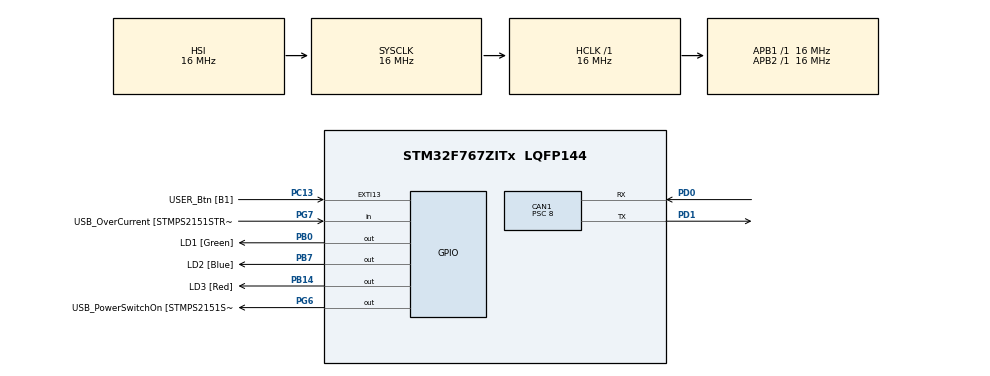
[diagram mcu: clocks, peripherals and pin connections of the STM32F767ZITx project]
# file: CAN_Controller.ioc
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CAN1.BS1=CAN_BS1_2TQ
CAN1.CalculateBaudRate=500000
CAN1.CalculateTimeBit=2000
CAN1.CalculateTimeQuantum=500.0
CAN1.Mode=CAN_MODE_NORMAL
CAN1.Prescaler=8
Mcu.Family=STM32F7
Mcu.Name=STM32F767ZITx
Mcu.Package=LQFP144
NVIC.CAN1_RX0_IRQn=true\:0\:0\:false\:false\:true\:true\:true
NVIC.CAN1_RX1_IRQn=true\:0\:0\:false\:false\:true\:true\:true
NVIC.PriorityGroup=NVIC_PRIORITYGROUP_4
PA1.GPIO_Label=RMII_REF_CLK [LAN8742A-CZ-TR_REFCLK0]
PA1.Signal=ETH_REF_CLK
PA10.GPIO_Label=USB_ID
PA10.Signal=USB_OTG_FS_ID
PA11.GPIO_Label=USB_DM
PA11.Signal=USB_OTG_FS_DM
PA12.GPIO_Label=USB_DP
PA12.Signal=USB_OTG_FS_DP
PA13.GPIO_Label=TMS
PA13.Mode=Serial_Wire
PA13.Signal=SYS_JTMS-SWDIO
PA14.GPIO_Label=TCK
PA14.Mode=Serial_Wire
PA14.Signal=SYS_JTCK-SWCLK
PA2.GPIO_Label=RMII_MDIO [LAN8742A-CZ-TR_MDIO]
PA2.Signal=ETH_MDIO
PA7.GPIO_Label=RMII_CRS_DV [LAN8742A-CZ-TR_CRS_DV]
PA7.Signal=ETH_CRS_DV
PA8.GPIO_Label=USB_SOF [TP1]
PA8.Signal=USB_OTG_FS_SOF
PA9.GPIO_Label=USB_VBUS
PA9.Signal=USB_OTG_FS_VBUS
PB0.GPIO_Label=LD1 [Green]
PB0.Signal=GPIO_Output
PB13.GPIO_Label=RMII_TXD1 [LAN8742A-CZ-TR_TXD1]
PB13.Signal=ETH_TXD1
PB14.GPIO_Label=LD3 [Red]
PB14.Signal=GPIO_Output
PB3.GPIO_Label=SW0
PB3.Signal=SYS_JTDO-SWO
PB7.GPIO_Label=LD2 [Blue]
PB7.Signal=GPIO_Output
PC1.GPIO_Label=RMII_MDC [LAN8742A-CZ-TR_MDC]
PC1.Signal=ETH_MDC
PC13.GPIO_Label=USER_Btn [B1]
PC13.Signal=GPXTI13
PC14/OSC32_IN.Mode=LSE-External-Clock-Source
PC14/OSC32_IN.Signal=RCC_OSC32_IN
PC15/OSC32_OUT.Mode=LSE-External-Clock-Source
PC15/OSC32_OUT.Signal=RCC_OSC32_OUT
PC4.GPIO_Label=RMII_RXD0 [LAN8742A-CZ-TR_RXD0]
PC4.Signal=ETH_RXD0
PC5.GPIO_Label=RMII_RXD1 [LAN8742A-CZ-TR_RXD1]
PC5.Signal=ETH_RXD1
PD0.Mode=CAN_Activate
PD0.Signal=CAN1_RX
PD1.Mode=CAN_Activate
PD1.Signal=CAN1_TX
PD8.GPIO_Label=STLK_RX [STM32F103CBT6_PA3]
PD8.Signal=USART3_TX
PD9.GPIO_Label=STLK_TX [STM32F103CBT6_PA2]
PD9.Signal=USART3_RX
PG11.GPIO_Label=RMII_TX_EN [LAN8742A-CZ-TR_TXEN]
PG11.Signal=ETH_TX_EN
PG13.GPIO_Label=RMII_TXD0 [LAN8742A-CZ-TR_TXD0]
PG13.Signal=ETH_TXD0
PG6.GPIO_Label=USB_PowerSwitchOn [STMPS2151STR_EN]
PG6.Signal=GPIO_Output
PG7.GPIO_Label=USB_OverCurrent [STMPS2151STR_FAULT]
PG7.Signal=GPIO_Input
PH0/OSC_IN.GPIO_Label=MCO [STM32F103CBT6_PA8]
PH0/OSC_IN.Mode=HSE-External-Clock-Source
PH0/OSC_IN.Signal=RCC_OSC_IN
PH1/OSC_OUT.Mode=HSE-External-Clock-Source
PH1/OSC_OUT.Signal=RCC_OSC_OUT
ProjectManager.HeapSize=0x200
ProjectManager.StackSize=0x400
ProjectManager.TargetToolchain=STM32CubeIDE
RCC.48MHZClocksFreq_Value=24000000
RCC.AHBFreq_Value=16000000
RCC.APB1Freq_Value=16000000
RCC.APB1TimFreq_Value=16000000
RCC.APB2Freq_Value=16000000
RCC.APB2TimFreq_Value=16000000
RCC.CortexFreq_Value=16000000
RCC.HCLKFreq_Value=16000000
RCC.HSE_VALUE=8000000
RCC.HSI_VALUE=16000000
RCC.PLLM=4
RCC.PLLMUL=RCC_PLL_MUL9
RCC.PLLP=RCC_PLLP_DIV4
RCC.PRESCALERUSB=RCC_USBCLKSOURCE_PLL_DIV1_5
RCC.SYSCLKFreq_VALUE=16000000
RCC.SYSCLKSourceVirtual=RCC_SYSCLKSOURCE_PLLCLK
RCC.USBFreq_Value=384000000
RCC.VCOOutputFreq_Value=768000000
board=NUCLEO-F767ZI

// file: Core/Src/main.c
/* USER CODE BEGIN Header */
/**
  ******************************************************************************
  * @file           : main.c
  * @brief          : Main program body
  ******************************************************************************
  * @attention
  *
  * Copyright (c) 2022 STMicroelectronics.
  * All rights reserved.
  *
  * This software is licensed under terms that can be found in the LICENSE file
  * in the root directory of this software component.
  * If no LICENSE file comes with this software, it is provided AS-IS.
  *
  ******************************************************************************
  */
/* USER CODE END Header */
#include "main.h"
#include "can_msg.h"

CAN_HandleTypeDef hcan1;

/* USER CODE BEGIN PV */
#define CAN_QUEUE_SIZE 50

//ms_timer_t timer_CAN_queue;
//message_queue_t queue_CAN1;

uint32_t txMailbox_CAN1;

/* USER CODE END PV */

void SystemClock_Config(void);
static void MX_GPIO_Init(void);
static void MX_CAN1_Init(void);
/* USER CODE BEGIN PFP */
void setup_CAN();
static void CAN_Config(void);
/* USER CODE END PFP */

/* USER CODE BEGIN 0 */
CAN_TxHeaderTypeDef   TxHeader;
CAN_RxHeaderTypeDef   RxHeader;
uint8_t               TxData[8];
uint8_t               RxData[8];
uint32_t              TxMailbox;
/* USER CODE END 0 */

int main(void)
{

  /* MCU Configuration--------------------------------------------------------*/

  /* Reset of all peripherals, Initializes the Flash interface and the Systick. */
  HAL_Init();

  /* Configure the system clock */
  SystemClock_Config();

  /* Initialize all configured peripherals */
  MX_GPIO_Init();
  MX_CAN1_Init();
  /* USER CODE BEGIN 2 */
  CAN_Config();
  if (HAL_CAN_ActivateNotification(&hcan1, CAN_IT_RX_FIFO0_MSG_PENDING) != HAL_OK)
      {
        /* Notification Error */
        Error_Handler();
      }

  	  TxHeader.StdId = 0x321;
      TxHeader.ExtId = 0x01;
      TxHeader.RTR = CAN_RTR_DATA;
      TxHeader.IDE = CAN_ID_STD;
      TxHeader.DLC = 8;
      TxHeader.TransmitGlobalTime = DISABLE;

      TxData[0] = 0x01;
      TxData[1] = 0xA1;
      TxData[2] = 0xB1;
      TxData[3] = 0xC1;
      TxData[4] = 0x00;
      TxData[5] = 0x00;
      TxData[6] = 0x00;
      TxData[7] = 0x00;
      TxData[8] = 0x00;
  /* USER CODE END 2 */

  /* Infinite loop */
  /* USER CODE BEGIN WHILE */
  while (1)
  {
	  HAL_CAN_AddTxMessage(&hcan1, &TxHeader, TxData, &TxMailbox);
	  HAL_Delay(500);
	  HAL_GPIO_TogglePin(LD2_GPIO_Port, LD2_Pin);
    /* USER CODE END WHILE */

  }
}

void SystemClock_Config(void)
{
  RCC_OscInitTypeDef RCC_OscInitStruct = {0};
  RCC_ClkInitTypeDef RCC_ClkInitStruct = {0};

  /** Configure the main internal regulator output voltage
  */
  __HAL_RCC_PWR_CLK_ENABLE();
  __HAL_PWR_VOLTAGESCALING_CONFIG(PWR_REGULATOR_VOLTAGE_SCALE3);
  /** Initializes the RCC Oscillators according to the specified parameters
  * in the RCC_OscInitTypeDef structure.
  */
  RCC_OscInitStruct.OscillatorType = RCC_OSCILLATORTYPE_HSI;
  RCC_OscInitStruct.HSIState = RCC_HSI_ON;
  RCC_OscInitStruct.HSICalibrationValue = RCC_HSICALIBRATION_DEFAULT;
  RCC_OscInitStruct.PLL.PLLState = RCC_PLL_NONE;
  if (HAL_RCC_OscConfig(&RCC_OscInitStruct) != HAL_OK)
  {
    Error_Handler();
  }
  /** Initializes the CPU, AHB and APB buses clocks
  */
  RCC_ClkInitStruct.ClockType = RCC_CLOCKTYPE_HCLK|RCC_CLOCKTYPE_SYSCLK
                              |RCC_CLOCKTYPE_PCLK1|RCC_CLOCKTYPE_PCLK2;
  RCC_ClkInitStruct.SYSCLKSource = RCC_SYSCLKSOURCE_HSI;
  RCC_ClkInitStruct.AHBCLKDivider = RCC_SYSCLK_DIV1;
  RCC_ClkInitStruct.APB1CLKDivider = RCC_HCLK_DIV1;
  RCC_ClkInitStruct.APB2CLKDivider = RCC_HCLK_DIV1;

  if (HAL_RCC_ClockConfig(&RCC_ClkInitStruct, FLASH_LATENCY_0) != HAL_OK)
  {
    Error_Handler();
  }
}

static void MX_CAN1_Init(void)
{

  hcan1.Instance = CAN1;
  hcan1.Init.Prescaler = 8;
  hcan1.Init.Mode = CAN_MODE_NORMAL;
  hcan1.Init.SyncJumpWidth = CAN_SJW_1TQ;
  hcan1.Init.TimeSeg1 = CAN_BS1_2TQ;
  hcan1.Init.TimeSeg2 = CAN_BS2_1TQ;
  hcan1.Init.TimeTriggeredMode = DISABLE;
  hcan1.Init.AutoBusOff = DISABLE;
  hcan1.Init.AutoWakeUp = DISABLE;
  hcan1.Init.AutoRetransmission = DISABLE;
  hcan1.Init.ReceiveFifoLocked = DISABLE;
  hcan1.Init.TransmitFifoPriority = DISABLE;
  if (HAL_CAN_Init(&hcan1) != HAL_OK)
  {
    Error_Handler();
  }

}

static void MX_GPIO_Init(void)
{
  GPIO_InitTypeDef GPIO_InitStruct = {0};

  /* GPIO Ports Clock Enable */
  __HAL_RCC_GPIOC_CLK_ENABLE();
  __HAL_RCC_GPIOH_CLK_ENABLE();
  __HAL_RCC_GPIOA_CLK_ENABLE();
  __HAL_RCC_GPIOB_CLK_ENABLE();
  __HAL_RCC_GPIOD_CLK_ENABLE();
  __HAL_RCC_GPIOG_CLK_ENABLE();

  /*Configure GPIO pin Output Level */
  HAL_GPIO_WritePin(GPIOB, LD1_Pin|LD3_Pin|LD2_Pin, GPIO_PIN_RESET);

  /*Configure GPIO pin Output Level */
  HAL_GPIO_WritePin(USB_PowerSwitchOn_GPIO_Port, USB_PowerSwitchOn_Pin, GPIO_PIN_RESET);

  /*Configure GPIO pin : USER_Btn_Pin */
  GPIO_InitStruct.Pin = USER_Btn_Pin;
  GPIO_InitStruct.Mode = GPIO_MODE_IT_RISING;
  GPIO_InitStruct.Pull = GPIO_NOPULL;
  HAL_GPIO_Init(USER_Btn_GPIO_Port, &GPIO_InitStruct);

  /*Configure GPIO pins : RMII_MDC_Pin RMII_RXD0_Pin RMII_RXD1_Pin */
  GPIO_InitStruct.Pin = RMII_MDC_Pin|RMII_RXD0_Pin|RMII_RXD1_Pin;
  GPIO_InitStruct.Mode = GPIO_MODE_AF_PP;
  GPIO_InitStruct.Pull = GPIO_NOPULL;
  GPIO_InitStruct.Speed = GPIO_SPEED_FREQ_VERY_HIGH;
  GPIO_InitStruct.Alternate = GPIO_AF11_ETH;
  HAL_GPIO_Init(GPIOC, &GPIO_InitStruct);

  /*Configure GPIO pins : RMII_REF_CLK_Pin RMII_MDIO_Pin RMII_CRS_DV_Pin */
  GPIO_InitStruct.Pin = RMII_REF_CLK_Pin|RMII_MDIO_Pin|RMII_CRS_DV_Pin;
  GPIO_InitStruct.Mode = GPIO_MODE_AF_PP;
  GPIO_InitStruct.Pull = GPIO_NOPULL;
  GPIO_InitStruct.Speed = GPIO_SPEED_FREQ_VERY_HIGH;
  GPIO_InitStruct.Alternate = GPIO_AF11_ETH;
  HAL_GPIO_Init(GPIOA, &GPIO_InitStruct);

  /*Configure GPIO pins : LD1_Pin LD3_Pin LD2_Pin */
  GPIO_InitStruct.Pin = LD1_Pin|LD3_Pin|LD2_Pin;
  GPIO_InitStruct.Mode = GPIO_MODE_OUTPUT_PP;
  GPIO_InitStruct.Pull = GPIO_NOPULL;
  GPIO_InitStruct.Speed = GPIO_SPEED_FREQ_LOW;
  HAL_GPIO_Init(GPIOB, &GPIO_InitStruct);

  /*Configure GPIO pin : RMII_TXD1_Pin */
  GPIO_InitStruct.Pin = RMII_TXD1_Pin;
  GPIO_InitStruct.Mode = GPIO_MODE_AF_PP;
  GPIO_InitStruct.Pull = GPIO_NOPULL;
  GPIO_InitStruct.Speed = GPIO_SPEED_FREQ_VERY_HIGH;
  GPIO_InitStruct.Alternate = GPIO_AF11_ETH;
  HAL_GPIO_Init(RMII_TXD1_GPIO_Port, &GPIO_InitStruct);

  /*Configure GPIO pins : STLK_RX_Pin STLK_TX_Pin */
  GPIO_InitStruct.Pin = STLK_RX_Pin|STLK_TX_Pin;
  GPIO_InitStruct.Mode = GPIO_MODE_AF_PP;
  GPIO_InitStruct.Pull = GPIO_NOPULL;
  GPIO_InitStruct.Speed = GPIO_SPEED_FREQ_VERY_HIGH;
  GPIO_InitStruct.Alternate = GPIO_AF7_USART3;
  HAL_GPIO_Init(GPIOD, &GPIO_InitStruct);

  /*Configure GPIO pin : USB_PowerSwitchOn_Pin */
  GPIO_InitStruct.Pin = USB_PowerSwitchOn_Pin;
  GPIO_InitStruct.Mode = GPIO_MODE_OUTPUT_PP;
  GPIO_InitStruct.Pull = GPIO_NOPULL;
  GPIO_InitStruct.Speed = GPIO_SPEED_FREQ_LOW;
  HAL_GPIO_Init(USB_PowerSwitchOn_GPIO_Port, &GPIO_InitStruct);

  /*Configure GPIO pin : USB_OverCurrent_Pin */
  GPIO_InitStruct.Pin = USB_OverCurrent_Pin;
  GPIO_InitStruct.Mode = GPIO_MODE_INPUT;
  GPIO_InitStruct.Pull = GPIO_NOPULL;
  HAL_GPIO_Init(USB_OverCurrent_GPIO_Port, &GPIO_InitStruct);

  /*Configure GPIO pins : USB_SOF_Pin USB_ID_Pin USB_DM_Pin USB_DP_Pin */
  GPIO_InitStruct.Pin = USB_SOF_Pin|USB_ID_Pin|USB_DM_Pin|USB_DP_Pin;
  GPIO_InitStruct.Mode = GPIO_MODE_AF_PP;
  GPIO_InitStruct.Pull = GPIO_NOPULL;
  GPIO_InitStruct.Speed = GPIO_SPEED_FREQ_VERY_HIGH;
  GPIO_InitStruct.Alternate = GPIO_AF10_OTG_FS;
  HAL_GPIO_Init(GPIOA, &GPIO_InitStruct);

  /*Configure GPIO pin : USB_VBUS_Pin */
  GPIO_InitStruct.Pin = USB_VBUS_Pin;
  GPIO_InitStruct.Mode = GPIO_MODE_INPUT;
  GPIO_InitStruct.Pull = GPIO_NOPULL;
  HAL_GPIO_Init(USB_VBUS_GPIO_Port, &GPIO_InitStruct);

  /*Configure GPIO pins : RMII_TX_EN_Pin RMII_TXD0_Pin */
  GPIO_InitStruct.Pin = RMII_TX_EN_Pin|RMII_TXD0_Pin;
  GPIO_InitStruct.Mode = GPIO_MODE_AF_PP;
  GPIO_InitStruct.Pull = GPIO_NOPULL;
  GPIO_InitStruct.Speed = GPIO_SPEED_FREQ_VERY_HIGH;
  GPIO_InitStruct.Alternate = GPIO_AF11_ETH;
  HAL_GPIO_Init(GPIOG, &GPIO_InitStruct);

}

/* USER CODE BEGIN 4 */
void setup_CAN() {

	// start CAN lines
	if (HAL_CAN_Start(&hcan1) != HAL_OK) {
		//printf("ERROR: FAILED TO START CAN1\r\n");
		Error_Handler();
	}

	// setup CAN filters
	CAN_FilterTypeDef sFilterConfig;

	sFilterConfig.FilterBank = 0;
	sFilterConfig.FilterMode = CAN_FILTERMODE_IDMASK;
	sFilterConfig.FilterScale = CAN_FILTERSCALE_32BIT;
	sFilterConfig.FilterIdHigh = 0x0000;
	sFilterConfig.FilterIdLow = 0x0000;
	sFilterConfig.FilterMaskIdHigh = 0x0000;
	sFilterConfig.FilterMaskIdLow = 0x0000;
	sFilterConfig.FilterFIFOAssignment = CAN_RX_FIFO0;
	sFilterConfig.FilterActivation = ENABLE;
	sFilterConfig.SlaveStartFilterBank = 14;

	if (HAL_CAN_ConfigFilter(&hcan1, &sFilterConfig) != HAL_OK) {
		//printf("failed to config filter on can1\r\n");
		Error_Handler();
	}

	// activate notifications / interrupts
	if (HAL_CAN_ActivateNotification(&hcan1, CAN_IT_RX_FIFO0_MSG_PENDING)
			!= HAL_OK) {
		//printf("Failed to activate CAN1 notification on RX0");
	}

	if (HAL_CAN_ActivateNotification(&hcan1, CAN_IT_RX_FIFO1_MSG_PENDING)
			!= HAL_OK) {
		//printf("Failed to activate CAN1 notification on RX1");
	}
}

static void CAN_Config(void)
{
	CAN_FilterTypeDef  sFilterConfig;
	sFilterConfig.FilterBank = 0;
	sFilterConfig.FilterMode = CAN_FILTERMODE_IDMASK;
	sFilterConfig.FilterScale = CAN_FILTERSCALE_32BIT;
	sFilterConfig.FilterIdHigh = 0x0000;
	sFilterConfig.FilterIdLow = 0x0000;
	sFilterConfig.FilterMaskIdHigh = 0x0000;
	sFilterConfig.FilterMaskIdLow = 0x0000;
	sFilterConfig.FilterFIFOAssignment = CAN_RX_FIFO0;
	sFilterConfig.FilterActivation = ENABLE;
	sFilterConfig.SlaveStartFilterBank = 14;

	if (HAL_CAN_ConfigFilter(&hcan1, &sFilterConfig) != HAL_OK)
	  {
	    /* Filter configuration Error */
	    Error_Handler();
	  }

	if (HAL_CAN_Start(&hcan1) != HAL_OK)
	{
	    /* Start Error */
	    Error_Handler();
	}

}

void HAL_CAN_RxFifo0MsgPendingCallback(CAN_HandleTypeDef *hcan)
{
  //HAL_GPIO_TogglePin(LD1_GPIO_Port, LD1_Pin);
  /* Get RX message */
  if (HAL_CAN_GetRxMessage(hcan, CAN_RX_FIFO0, &RxHeader, RxData) != HAL_OK)
  {
    /* Reception Error */
    Error_Handler();
  }
  if (RxData[0] == 0x01 && TxData[0] == 0x01 && RxData[1] == 0xA1 && RxData[2] == 0xB1 && RxData[3] == 0xC1
  			  && RxData[4] == 0x00 && RxData[5] == 0x00 && RxData[6] == 0x00 && RxData[7] == 0x00 && RxData[8] == 0x00)
  		  HAL_GPIO_TogglePin(LD1_GPIO_Port, LD1_Pin);
}
/* USER CODE END 4 */

void Error_Handler(void)
{
  /* USER CODE BEGIN Error_Handler_Debug */
  /* User can add his own implementation to report the HAL error return state */
	HAL_GPIO_TogglePin(LD3_GPIO_Port, LD3_Pin);
  __disable_irq();
  while (1)
  {
  }
  /* USER CODE END Error_Handler_Debug */
}
